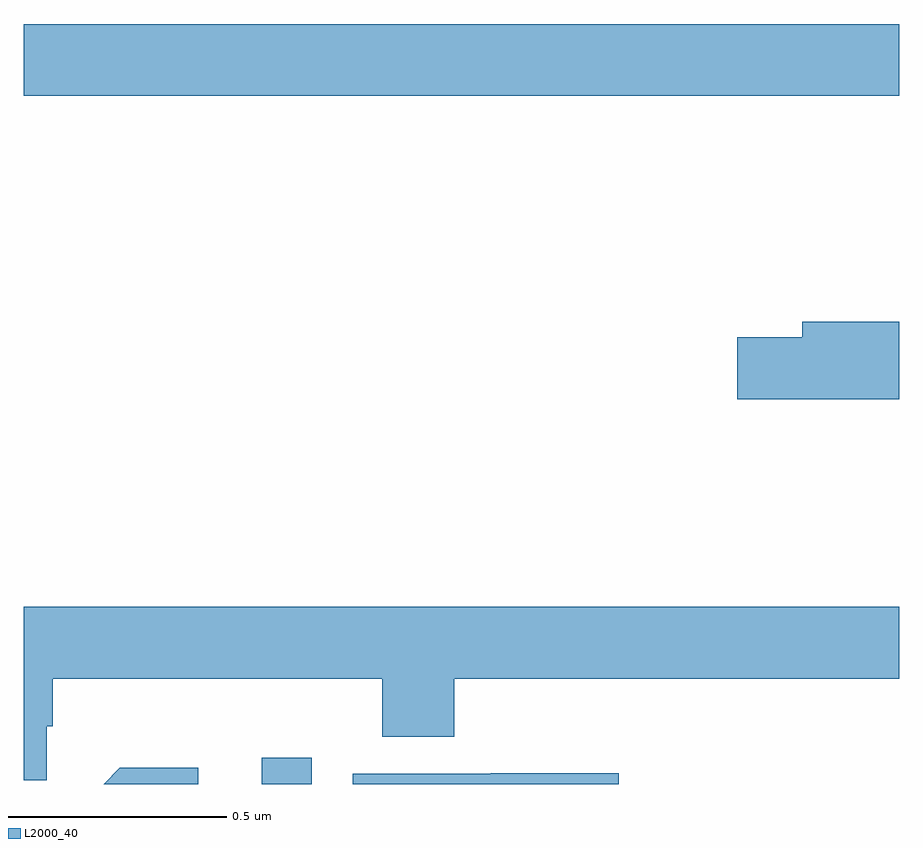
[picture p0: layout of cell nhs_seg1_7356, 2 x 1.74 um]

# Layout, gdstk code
import gdstk
lib = gdstk.Library(unit=1e-6, precision=1e-09)
def R(c, l, rs):  # rectangles x0, y0, x1, y1
    for r in rs: c.add(gdstk.rectangle(r[:2], r[2:], *l))
def P(c, l, *ps):  # polygons
    for p in ps: c.add(gdstk.Polygon(p, *l))
L2000_40 = (2000, 40)

nhs_seg1_7356 = lib.new_cell('nhs_seg1_7356')
R(nhs_seg1_7356, L2000_40, [(203.543,510.199,203.658,510.259), (203,511.772,205,511.936)])
P(nhs_seg1_7356, L2000_40, [(205,511.256),(204.779,511.256),(204.779,511.22),(204.63,511.22),(204.63,511.078),(205,511.078)],
  [(203.052,510.331),(203.066,510.331),(203.066,510.44),(203.819,510.44),(203.819,510.307),(203.984,510.307),(203.984,510.44),(205,510.44),(205,510.604),(203,510.604),(203,510.208),(203.052,510.208)],
  [(203.398,510.236),(203.219,510.236),(203.182,510.199),(203.398,510.199)],
  [(204.359,510.224),(204.067,510.224),(204.067,510.222),(203.751,510.222),(203.751,510.199),(204.359,510.199)])

lib.write_gds('nhs_seg1_7356.gds')
